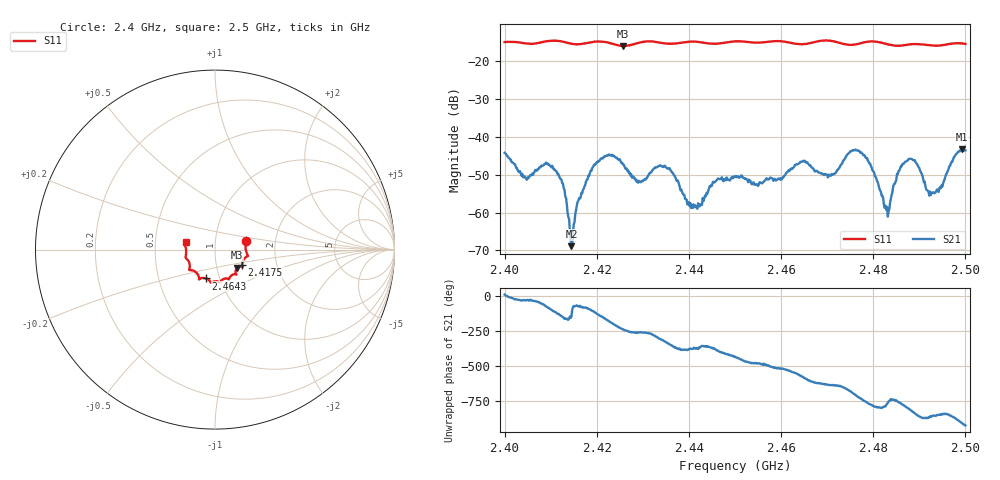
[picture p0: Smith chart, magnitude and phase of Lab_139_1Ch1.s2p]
# Hz S RI R 50
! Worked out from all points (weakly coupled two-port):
!   601 points, 2.4 GHz to 2.5 GHz, reference 50 ohm
!   highest |S21| = -43.29 dB at 2.4992 GHz (marker M1); lowest = -68.9 dB at 2.4145 GHz (marker M2)
!   lowest |S11| = -16.0 dB at 2.4257 GHz (marker M3), VSWR 1.38, Z = 62.5 - j13 ohm
!   |S11| at or under -10 dB: start of sweep to end of sweep
!   S12 and S22 are empty: the file has one direction only
!   S11 on the Smith chart (normalised r, x): 2.4 GHz: 1.41, +0.14; 2.4175 GHz: 1.33, -0.23; 2.4643 GHz: 0.86, -0.28; 2.5 GHz: 0.72, +0.06
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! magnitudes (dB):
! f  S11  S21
! 2.4 GHz  -14.9  -44.2
! 2.4045 GHz  -15.3  -50.7
! 2.4108 GHz  -14.5  -48.6
! 2.4128 GHz  -14.9  -53.5
! 2.4145 GHz  -15.4  -68.9
! 2.4167 GHz  -15.4  -54.8
! 2.4175 GHz  -15.2  -52.6
! 2.422 GHz  -14.9  -45.0
! 2.4257 GHz  -16.0  -47.2
! 2.4292 GHz  -15.1  -51.6
! 2.4333 GHz  -15.0  -47.8
! 2.4413 GHz  -14.8  -58.0
! 2.45 GHz  -14.7  -50.6
! 2.4643 GHz  -15.5  -46.6
! 2.4667 GHz  -15.1  -48.1
! 2.4707 GHz  -14.6  -50.1
! 2.477 GHz  -15.3  -43.8
! 2.4833 GHz  -15.6  -59.6
! 2.4873 GHz  -15.6  -46.3
! 2.493 GHz  -15.8  -54.6
! 2.4992 GHz  -15.3  -43.3
! 2.5 GHz  -15.4  -43.5
